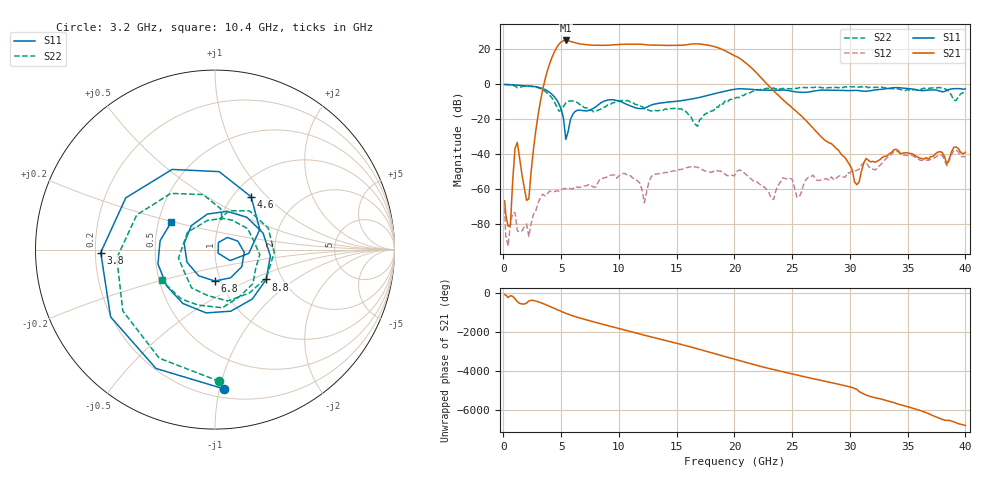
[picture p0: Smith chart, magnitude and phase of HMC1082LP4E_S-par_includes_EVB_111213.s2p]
!Hittite Microwave Corporation
!2 Elizabeth Drive
!Chelmsford, MA 01824
!Tel: 978-250-3343
!Fax: 978-250-3373
!Device: HMC1082LP4, GaAs pHEMT MMIC Medium Power Amplifier, 5.5 - 18 GHz
!Misc: Vdd1=Vdd2=Vdd3=5 V, Idd=220 mA, data includes evaluation board with coaxial connectors, room temperature
# GHZ S DB R 50
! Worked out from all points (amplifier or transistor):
!   201 points, 100 MHz to 40 GHz, reference 50 ohm
!   highest |S21| = 24.8 dB at 5.4 GHz (marker M1)
!   |S21| within 3 dB of that: 4.714 GHz to 17.95 GHz (13.23 GHz wide, 117 % of centre)
!   unconditionally stable (mu >= 1): start of sweep to end of sweep
!   at 6.6 GHz: K = 29.19, MAG = 23.3 dB, |S12| = -59.1 dB
!   at 20 GHz: K = 14.28, MAG = 19.7 dB, |S12| = -52.4 dB
!   at 40 GHz: K = 1678.99, MAG = -34.1 dB, |S12| = -41.4 dB
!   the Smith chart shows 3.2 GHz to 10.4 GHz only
!   S11 on the Smith chart (normalised r, x): 3.2 GHz: 0.26, -1.03; 3.8 GHz: 0.22, -0.01; 4.6 GHz: 1.20, +0.81; 6.8 GHz: 0.94, -0.34; 8.8 GHz: 1.65, -0.62; 10.4 GHz: 0.58, +0.19
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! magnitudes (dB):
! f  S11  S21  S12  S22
! 100 MHz  -0.3  -66.6  -70.8  -0.3
! 600 MHz  -0.4  -80.7  -80.2  -0.5
! 1 GHz  -0.6  -36.8  -73.3  -1.2
! 1.2 GHz  -0.7  -33.4  -83.8  -2.2
! 2.2 GHz  -1.2  -65.5  -87.1  -1.3
! 3.2 GHz  -2.2  -9.9  -64.8  -2.7
! 3.8 GHz  -3.9  7.4  -62.6  -5.2
! 4.6 GHz  -9.0  20.7  -60.9  -12.8
! 5.4 GHz  -31.6  24.8  -59.6  -10.8
! 6.8 GHz  -15.1  22.7  -58.3  -12.0
! 8.8 GHz  -9.6  22.0  -53.5  -13.2
! 10.4 GHz  -10.8  22.6  -51.0  -9.3
! 12.2 GHz  -13.9  22.4  -67.8  -14.2
! 13.4 GHz  -11.1  22.1  -51.2  -15.3
! 16.8 GHz  -7.9  22.8  -47.5  -24.1
! 20.2 GHz  -2.8  15.5  -49.9  -7.7
! 23.4 GHz  -3.7  -3.9  -65.9  -2.3
! 26.8 GHz  -4.1  -25.1  -52.0  -2.1
! 30.6 GHz  -3.7  -57.4  -49.3  -1.6
! 31.4 GHz  -4.2  -42.5  -44.8  -1.6
! 33.4 GHz  -2.4  -39.9  -41.6  -2.7
! 40 GHz  -2.9  -39.0  -41.4  -4.6
